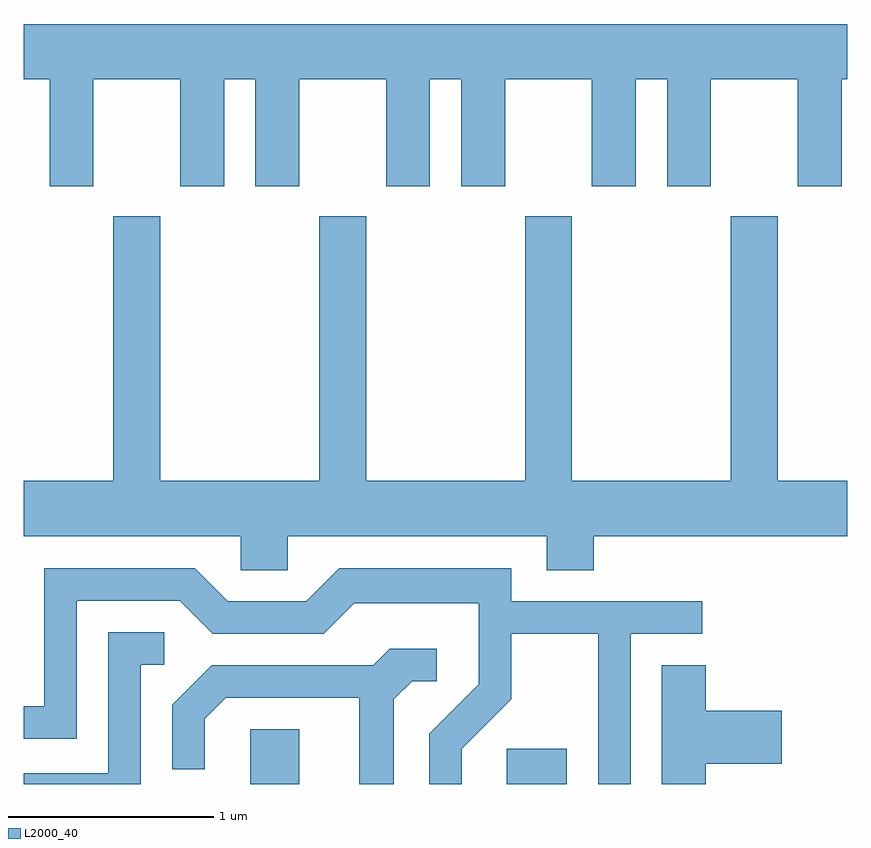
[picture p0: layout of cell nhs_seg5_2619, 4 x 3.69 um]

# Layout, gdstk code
import gdstk
lib = gdstk.Library(unit=1e-6, precision=1e-09)
def R(c, l, rs):  # rectangles x0, y0, x1, y1
    for r in rs: c.add(gdstk.rectangle(r[:2], r[2:], *l))
def P(c, l, *ps):  # polygons
    for p in ps: c.add(gdstk.Polygon(p, *l))
L2000_40 = (2000, 40)

nhs_seg5_2619 = lib.new_cell('nhs_seg5_2619')
R(nhs_seg5_2619, L2000_40, [(264.711,1420.072,264.949,1420.339), (265.956,1420.072,266.249,1420.244)])
P(nhs_seg5_2619, L2000_40, [(263.949,1423.496),(264.371,1423.496),(264.371,1422.976),(264.584,1422.976),(264.584,1423.496),(264.736,1423.496),(264.736,1422.976),(264.949,1422.976),(264.949,1423.496),(265.371,1423.496),(265.371,1422.976),(265.584,1422.976),(265.584,1423.496),(265.736,1423.496),(265.736,1422.976),(265.949,1422.976),(265.949,1423.496),(266.371,1423.496),(266.371,1422.976),(266.584,1422.976),(266.584,1423.496),(266.736,1423.496),(266.736,1422.976),(266.949,1422.976),(266.949,1423.496),(267.371,1423.496),(267.371,1422.976),(267.584,1422.976),(267.584,1423.496),(267.611,1423.496),(267.611,1423.764),(263.611,1423.764),(263.611,1423.496),(263.736,1423.496),(263.736,1422.976),(263.949,1422.976)],
  [(264.894,1421.276),(266.151,1421.276),(266.151,1421.111),(266.379,1421.111),(266.379,1421.276),(267.611,1421.276),(267.611,1421.544),(267.274,1421.544),(267.274,1422.829),(267.046,1422.829),(267.046,1421.544),(266.274,1421.544),(266.274,1422.829),(266.046,1422.829),(266.046,1421.544),(265.274,1421.544),(265.274,1422.829),(265.046,1422.829),(265.046,1421.544),(264.274,1421.544),(264.274,1422.829),(264.046,1422.829),(264.046,1421.544),(263.611,1421.544),(263.611,1421.276),(264.666,1421.276),(264.666,1421.111),(264.894,1421.111)],
  [(265.739,1420.244),(265.979,1420.484),(265.979,1420.801),(266.401,1420.801),(266.401,1420.072),(266.559,1420.072),(266.559,1420.801),(266.908,1420.801),(266.908,1420.959),(265.979,1420.959),(265.979,1421.119),(265.144,1421.119),(264.984,1420.959),(264.602,1420.959),(264.442,1421.119),(263.711,1421.119),(263.711,1420.449),(263.611,1420.449),(263.611,1420.291),(263.869,1420.291),(263.869,1420.961),(264.369,1420.961),(264.529,1420.801),(265.067,1420.801),(265.217,1420.951),(265.821,1420.951),(265.821,1420.557),(265.581,1420.317),(265.581,1420.072),(265.739,1420.072)],
  [(264.179,1420.651),(264.293,1420.651),(264.293,1420.809),(264.021,1420.809),(264.021,1420.124),(263.611,1420.124),(263.611,1420.072),(264.179,1420.072)],
  [(265.409,1420.484),(265.497,1420.571),(265.618,1420.571),(265.618,1420.729),(265.389,1420.729),(265.309,1420.649),(264.524,1420.649),(264.331,1420.457),(264.331,1420.143),(264.489,1420.143),(264.489,1420.389),(264.592,1420.491),(265.241,1420.491),(265.241,1420.072),(265.409,1420.072)],
  [(266.924,1420.171),(267.294,1420.171),(267.294,1420.429),(266.924,1420.429),(266.924,1420.649),(266.711,1420.649),(266.711,1420.072),(266.924,1420.072)])

lib.write_gds('nhs_seg5_2619.gds')
